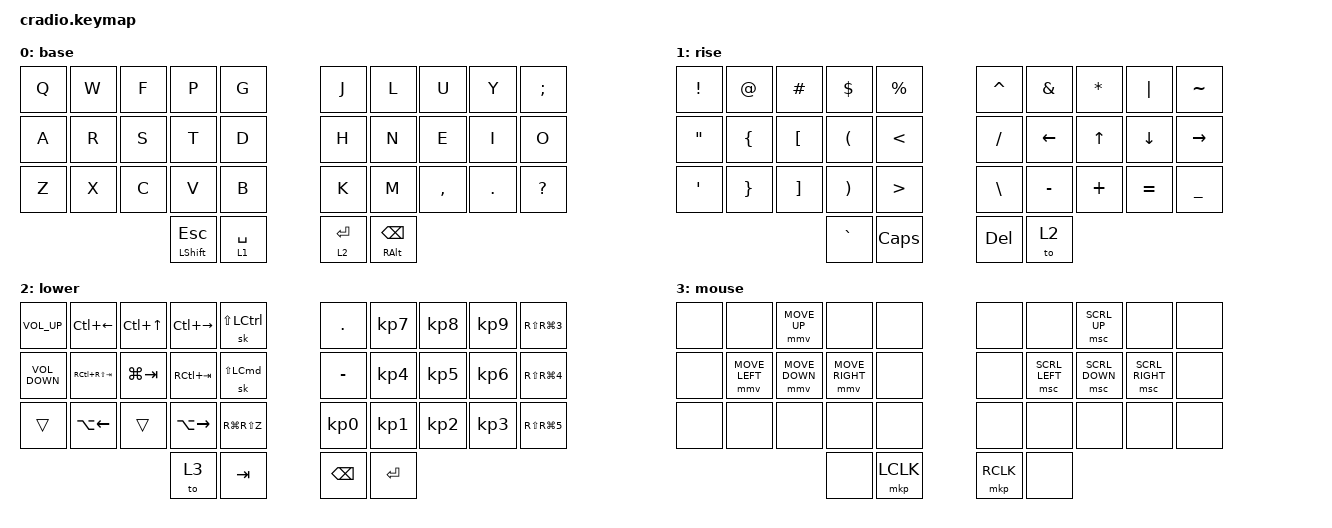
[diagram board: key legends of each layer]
// Copyright (c) 2022 The ZMK Contributors
// SPDX-License-Identifier: MIT

#include <behaviors.dtsi>
#include <dt-bindings/zmk/bt.h>
#include <dt-bindings/zmk/keys.h>
#include <dt-bindings/zmk/pointing.h>

#define BASE 0
#define RAISE 1
#define LOWER 2
#define MOUSE 3

/ {
    combos {
        compatible = "zmk,combos";

        toRise {
            bindings = <&sl 1>;
            key-positions = <31 32>;
        };

        toLower {
            bindings = <&sl 2>;
            key-positions = <33 30>;
        };

        repeat {
            bindings = <&key_repeat>;
            key-positions = <4 5>;
        };

        allLeftControl {
            bindings = <&sk LEFT_CONTROL>;
            key-positions = <13 12>;
        };

        allRightCommand {
            bindings = <&sk RIGHT_COMMAND>;
            key-positions = <16 17>;
        };

        btClear {
            bindings = <&bt BT_CLR>;
            key-positions = <8 9>;
        };

        bootloader {
            bindings = <&bootloader>;
            key-positions = <0 1>;
        };

        to0 {
            bindings = <&to 0>;
            key-positions = <13 16>;
            layers = <0 1 2 3>;
        };
    };

    keymap {
        compatible = "zmk,keymap";

        base {
            bindings = <
&kp Q  &kp W  &kp F  &kp P                  &kp G          &kp J        &kp L                    &kp U      &kp Y    &kp SEMI
&kp A  &kp R  &kp S  &kp T                  &kp D          &kp H        &kp N                    &kp E      &kp I    &kp O
&kp Z  &kp X  &kp C  &kp V                  &kp B          &kp K        &kp M                    &kp COMMA  &kp DOT  &kp QUESTION
                     &mt LEFT_SHIFT ESCAPE  &lt 1 SPACE    &lt 2 ENTER  &mt RIGHT_ALT BACKSPACE
            >;
        };

        rise {
            bindings = <
&kp EXCLAMATION    &kp AT_SIGN      &kp HASH           &kp DOLLAR             &kp PERCENT         &kp CARET      &kp AMPERSAND   &kp ASTERISK  &kp PIPE        &kp TILDE
&kp DOUBLE_QUOTES  &kp LEFT_BRACE   &kp LEFT_BRACKET   &kp LEFT_PARENTHESIS   &kp LESS_THAN       &kp SLASH      &kp LEFT_ARROW  &kp UP_ARROW  &kp DOWN_ARROW  &kp RIGHT_ARROW
&kp SINGLE_QUOTE   &kp RIGHT_BRACE  &kp RIGHT_BRACKET  &kp RIGHT_PARENTHESIS  &kp GREATER_THAN    &kp BACKSLASH  &kp MINUS       &kp PLUS      &kp EQUAL       &kp UNDERSCORE
                                                       &kp GRAVE              &kp CAPSLOCK        &kp DELETE     &to 2
            >;
        };

        lower {
            bindings = <
&kp C_VOLUME_UP    &kp LC(LEFT_ARROW)  &kp LC(UP_ARROW)  &kp LC(RIGHT_ARROW)  &sk LS(LEFT_CONTROL)    &kp DOT          &kp KP_NUMBER_7  &kp KP_NUMBER_8  &kp KP_NUMBER_9  &kp RS(RG(NUMBER_3))
&kp C_VOLUME_DOWN  &kp RC(RS(TAB))     &kp LG(TAB)       &kp RC(TAB)          &sk LS(LEFT_COMMAND)    &kp MINUS        &kp KP_NUMBER_4  &kp KP_NUMBER_5  &kp KP_NUMBER_6  &kp RS(RG(NUMBER_4))
&trans             &kp LA(LEFT_ARROW)  &trans            &kp LA(RIGHT_ARROW)  &kp RG(RS(Z))           &kp KP_NUMBER_0  &kp KP_NUMBER_1  &kp KP_NUMBER_2  &kp KP_NUMBER_3  &kp RS(RG(NUMBER_5))
                                                         &to 3                &kp TAB                 &kp BACKSPACE    &kp ENTER
            >;
        };

        mouse {
            bindings = <
&none  &none           &mmv MOVE_UP    &none            &none        &none      &none           &msc SCRL_UP    &none            &none
&none  &mmv MOVE_LEFT  &mmv MOVE_DOWN  &mmv MOVE_RIGHT  &none        &none      &msc SCRL_LEFT  &msc SCRL_DOWN  &msc SCRL_RIGHT  &none
&none  &none           &none           &none            &none        &none      &none           &none           &none            &none
                                       &none            &mkp LCLK    &mkp RCLK  &none
            >;
        };
    };
};
